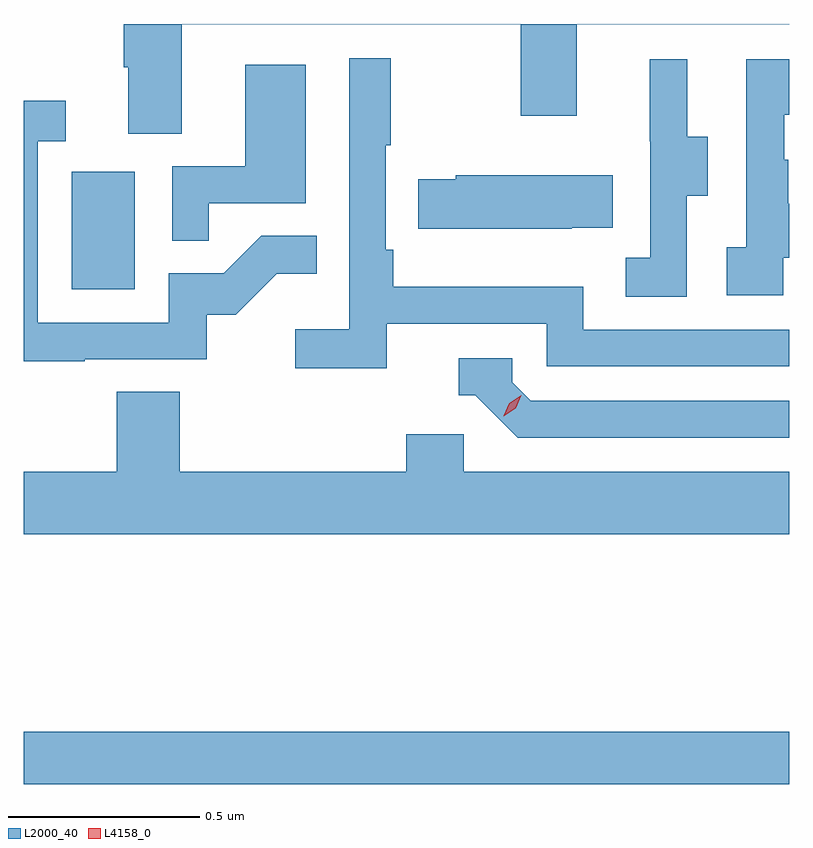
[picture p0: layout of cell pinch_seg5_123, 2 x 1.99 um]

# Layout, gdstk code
import gdstk
lib = gdstk.Library(unit=1e-6, precision=1e-09)
def R(c, l, rs):  # rectangles x0, y0, x1, y1
    for r in rs: c.add(gdstk.rectangle(r[:2], r[2:], *l))
def P(c, l, *ps):  # polygons
    for p in ps: c.add(gdstk.Polygon(p, *l))
L2000_40 = (2000, 40)
L4158_0 = (4158, 0)

pinch_seg5_123 = lib.new_cell('pinch_seg5_123')
R(pinch_seg5_123, L2000_40, [(1017.896,876.088,1019.896,876.224), (1018.022,877.38,1018.186,877.687)])
P(pinch_seg5_123, L2000_40, [(1018.309,878.072),(1019.194,878.072),(1019.194,877.833),(1019.341,877.833),(1019.341,878.072),(1019.896,878.072),(1019.896,878.073),(1017.896,878.073),(1017.896,878.072),(1018.157,878.072),(1018.157,877.96),(1018.169,877.96),(1018.169,877.786),(1018.309,877.786)],
  [(1018.844,877.29),(1019.262,877.29),(1019.262,877.179),(1019.896,877.179),(1019.896,877.275),(1019.358,877.275),(1019.358,877.387),(1018.862,877.387),(1018.862,877.483),(1018.842,877.483),(1018.842,877.756),(1018.855,877.756),(1018.855,877.984),(1018.746,877.984),(1018.746,877.276),(1018.605,877.276),(1018.605,877.174),(1018.844,877.174)],
  [(1019.628,877.624),(1019.683,877.624),(1019.683,877.779),(1019.629,877.779),(1019.629,877.981),(1019.531,877.981),(1019.531,877.767),(1019.532,877.767),(1019.532,877.463),(1019.469,877.463),(1019.469,877.36),(1019.628,877.36)],
  [(1019.88,877.463),(1019.896,877.463),(1019.896,877.603),(1019.893,877.603),(1019.893,877.718),(1019.883,877.718),(1019.883,877.836),(1019.896,877.836),(1019.896,877.981),(1019.784,877.981),(1019.784,877.49),(1019.733,877.49),(1019.733,877.365),(1019.88,877.365)],
  [(1018.379,877.605),(1018.633,877.605),(1018.633,877.966),(1018.475,877.966),(1018.475,877.701),(1018.284,877.701),(1018.284,877.507),(1018.379,877.507)],
  [(1018.055,877.197),(1018.374,877.197),(1018.374,877.314),(1018.45,877.314),(1018.557,877.421),(1018.661,877.421),(1018.661,877.52),(1018.517,877.52),(1018.419,877.422),(1018.275,877.422),(1018.275,877.293),(1017.933,877.293),(1017.933,877.767),(1018.006,877.767),(1018.006,877.873),(1017.896,877.873),(1017.896,877.192),(1018.055,877.192)],
  [(1019.327,877.541),(1019.435,877.541),(1019.435,877.678),(1019.025,877.678),(1019.025,877.668),(1018.927,877.668),(1018.927,877.538),(1019.327,877.538)],
  [(1019.896,877.089),(1019.22,877.089),(1019.172,877.137),(1019.172,877.2),(1019.033,877.2),(1019.033,877.104),(1019.076,877.104),(1019.187,876.993),(1019.896,876.993)],
  [(1019.896,876.904),(1019.046,876.904),(1019.046,877.002),(1018.895,877.002),(1018.895,876.904),(1018.304,876.904),(1018.304,877.112),(1018.139,877.112),(1018.139,876.904),(1017.896,876.904),(1017.896,876.74),(1019.896,876.74)])
P(pinch_seg5_123, L4158_0, [(1019.15,877.049),(1019.15,877.05),(1019.165,877.083),(1019.196,877.103),(1019.196,877.103),(1019.196,877.103),(1019.181,877.07),(1019.15,877.049)])

lib.write_gds('pinch_seg5_123.gds')
